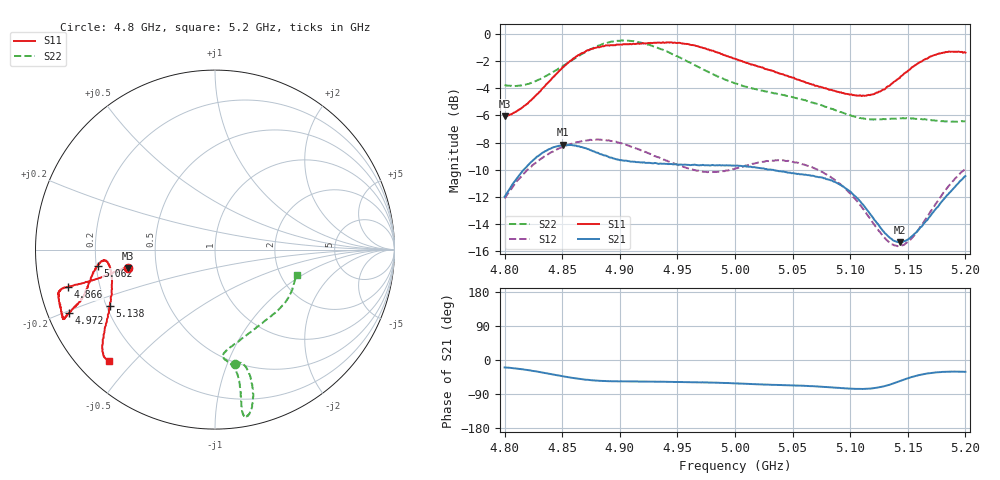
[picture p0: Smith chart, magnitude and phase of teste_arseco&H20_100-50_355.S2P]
! Network Analyzer HP8722D
! Hewlett-Packard
! Data name: Linha & Wilkinson
! Saver's name: Rodrigo Anjos
! Comments: Teste da utilização de aquisição
! continua pelo VNA HP8722D
! Time and date: 6/5/2025 15:31
!  Frequency  S11  S21  S12  S22
# HZ  S  MA R 50
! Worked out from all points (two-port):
!   401 points, 4.8 GHz to 5.2 GHz, reference 50 ohm
!   highest |S21| = -8.16 dB at 4.851 GHz (marker M1); lowest = -15.3 dB at 5.143 GHz (marker M2)
!   |S21| within 3 dB of the highest: 4.806 GHz to 5.093 GHz (286.4 MHz wide, 5.79 % of centre); 5.191879 GHz to end of sweep
!   lowest |S11| = -6.1 dB at 4.8 GHz (marker M3), VSWR 2.97, Z = 17 - j4.61 ohm
!   |S11| at or under -10 dB: nowhere
!   |S22| runs from -6.5 to -0.5 dB; largest |S21 - S12| = 0.62
!   S11 on the Smith chart (normalised r, x): 4.8 GHz: 0.34, -0.09; 4.866 GHz: 0.09, -0.12; 4.972 GHz: 0.06, -0.21; 5.062 GHz: 0.21, -0.07; 5.138 GHz: 0.21, -0.24; 5.2 GHz: 0.09, -0.43
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4.8e9  0.4968 -168.1  0.2519 -19.6  0.2482 -140.7  0.6486 -80.3
4.823e9  0.5698 -167.4  0.3379 -27.8  0.3242 -143.7  0.6599 -76.0
4.851e9  0.7551 -165.8  0.3909 -43.2  0.385 -149.2  0.7643 -74.5
4.866e9  0.8446 -165.7  0.3835 -50.2  0.4021 -151.7  0.8373 -75.2
4.867e9  0.8491 -165.7  0.3836 -50.6  0.4028 -151.9  0.8433 -75.4
4.879e9  0.8881 -165.5  0.3668 -54.2  0.408 -153.9  0.8961 -76.7
4.9e9  0.9126 -162.6  0.3432 -56.2  0.3968 -156.4  0.9429 -79.2
4.934e9  0.9294 -156.2  0.3325 -57.4  0.3515 -155.5  0.8841 -80.4
4.972e9  0.8879 -156.5  0.3298 -58.9  0.3114 -146.1  0.7416 -79.7
5e9  0.8096 -158.8  0.3274 -61.7  0.3197 -137.1  0.6577 -81.2
5.038e9  0.7163 -166.1  0.3125 -66.0  0.3427 -134.4  0.5997 -85.8
5.062e9  0.6604 -172.1  0.303 -68.3  0.3284 -136.3  0.5676 -83.8
5.067e9  0.6507 -173.0  0.3009 -68.9  0.3233 -136.6  0.5588 -82.6
5.086e9  0.618 -174.4  0.2857 -72.8  0.2919 -138.4  0.5262 -75.4
5.102e9  0.5949 -171.6  0.258 -75.8  0.2535 -138.7  0.4982 -66.0
5.116e9  0.5965 -165.4  0.2215 -75.8  0.213 -135.5  0.485 -55.8
5.134e9  0.6438 -154.2  0.1785 -65.5  0.1709 -120.8  0.487 -43.2
5.138e9  0.6664 -151.8  0.1734 -61.2  0.167 -115.7  0.4875 -40.8
5.143e9  0.6884 -149.2  0.1712 -55.8  0.1658 -109.0  0.4886 -38.1
5.154e9  0.7554 -144.4  0.1807 -44.4  0.1782 -95.0  0.4886 -32.3
5.174e9  0.8371 -138.4  0.2262 -32.8  0.2365 -80.2  0.4794 -23.8
5.2e9  0.8534 -133.6  0.2999 -31.2  0.3189 -76.7  0.4774 -17.5
